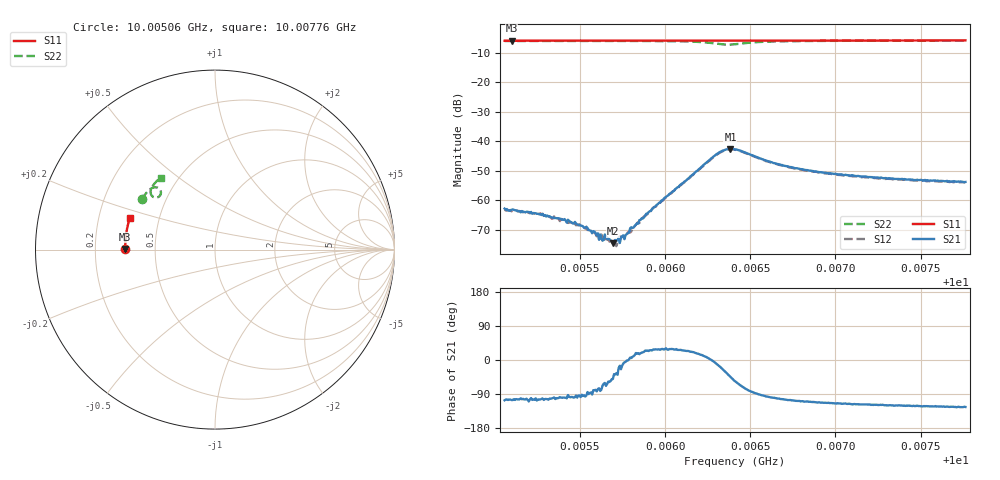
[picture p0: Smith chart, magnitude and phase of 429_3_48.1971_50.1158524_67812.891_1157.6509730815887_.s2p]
#  HZ  S  RI  R  50.00
! Rohde & Schwarz Vector Network Analyzer
! Rohde-Schwarz,ZNB20-2Port,1311601062101988,3.16
! Created: UTC 3/20/2024, 11:55:16 AM
! freq[Hz]  re:S11  im:S11  re:S21  im:S21  re:S12  im:S12  re:S22  im:S22
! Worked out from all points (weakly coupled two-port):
!   401 points, 10.00506 GHz to 10.00776 GHz, reference 50 ohm
!   highest |S21| = -42.60 dB at 10.00638 GHz (marker M1); lowest = -74.5 dB at 10.00569 GHz (marker M2)
!   lowest |S11| = -6.0 dB at 10.0051 GHz (marker M3), VSWR 3.00, Z = 16.7 + j0.176 ohm
!   |S11| at or under -10 dB: nowhere
!   |S22| runs from -7.3 to -6.0 dB; largest |S21 - S12| = 0.00045
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1.0005058e10  -0.5 0.00115  -0.000203 -0.000696  -0.000142 -0.000681  -0.4073 0.2809
1.0005099e10  -0.4999 0.00396  -0.000187 -0.000666  -0.000136 -0.000639  -0.4058 0.2832
1.0005268e10  -0.5002 0.0149  -0.000143 -0.000566  -0.000116 -0.000594  -0.3993 0.2932
1.0005403e10  -0.5002 0.0237  -7.32e-05 -0.000461  -6.99e-05 -0.000485  -0.3938 0.3011
1.0005511e10  -0.5 0.0305  -1.12e-05 -0.000372  7.05e-06 -0.000354  -0.389 0.3077
1.0005592e10  -0.4998 0.036  5.54e-05 -0.000274  6.28e-05 -0.000261  -0.3852 0.3126
1.0005626e10  -0.4996 0.0381  4.63e-05 -0.00022  9.77e-05 -0.000245  -0.3834 0.3148
1.000566e10  -0.4995 0.0401  0.000101 -0.000198  0.000134 -0.000191  -0.3818 0.3169
1.0005694e10  -0.4995 0.0427  0.000121 -0.000145  0.00013 -0.000145  -0.3799 0.3189
1.0005714e10  -0.4993 0.0439  0.000169 -0.000117  0.000151 -7.31e-05  -0.3788 0.3201
1.0005741e10  -0.4993 0.0457  0.00021 -9.52e-05  0.000241 -1.68e-05  -0.3772 0.322
1.0005775e10  -0.499 0.0478  0.000267 -6.77e-06  0.000257 -1.39e-05  -0.3755 0.3241
1.0005809e10  -0.499 0.0499  0.000338 5.01e-05  0.00032 5.08e-05  -0.3732 0.3263
1.0005964e10  -0.498 0.06  0.000799 0.000428  0.000764 0.000465  -0.3618 0.3365
1.0006289e10  -0.4953 0.0808  0.00558 -0.000514  0.00546 -0.000245  -0.3055 0.3326
1.0006343e10  -0.4947 0.0841  0.00626 -0.00311  0.00628 -0.00272  -0.3024 0.309
1.0006383e10  -0.4944 0.0866  0.00527 -0.00521  0.00546 -0.00482  -0.3147 0.2933
1.0006411e10  -0.4943 0.0882  0.00407 -0.00602  0.00433 -0.00573  -0.3266 0.2894
1.0006647e10  -0.4923 0.1032  -0.000769 -0.00415  -0.000553 -0.00414  -0.3585 0.3294
1.0006864e10  -0.4899 0.1171  -0.00112 -0.00295  -0.000947 -0.00292  -0.349 0.3517
1.0007317e10  -0.4832 0.1456  -0.00116 -0.00206  -0.00106 -0.00205  -0.3261 0.38
1.0007763e10  -0.4749 0.1733  -0.00114 -0.0017  -0.00104 -0.0017  -0.3032 0.4012
